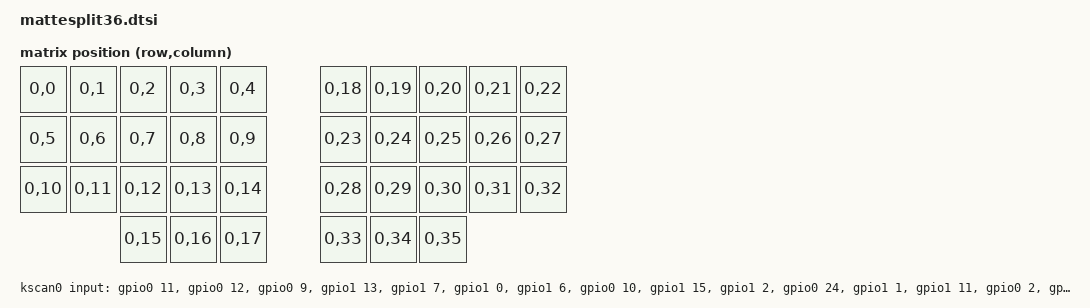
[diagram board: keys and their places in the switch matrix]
#include <dt-bindings/zmk/matrix_transform.h>
#include <physical_layouts.dtsi>

/ {
    chosen {
        zmk,kscan = &kscan0;
        zmk,physical-layout = &mattesplit36_layout;
    };

    mattesplit36_layout: physical_layout_0 {
        compatible = "zmk,physical-layout";
        display-name = "Mattesplit36";
        transform = <&default_transform>;
        kscan = <&kscan0>;
        keys =
            <&key_physical_attrs 100 100 0    0   0 0 0>,
            <&key_physical_attrs 100 100 100  0   0 0 0>,
            <&key_physical_attrs 100 100 200  0   0 0 0>,
            <&key_physical_attrs 100 100 300  0   0 0 0>,
            <&key_physical_attrs 100 100 400  0   0 0 0>,
            <&key_physical_attrs 100 100 600  0   0 0 0>,
            <&key_physical_attrs 100 100 700  0   0 0 0>,
            <&key_physical_attrs 100 100 800  0   0 0 0>,
            <&key_physical_attrs 100 100 900  0   0 0 0>,
            <&key_physical_attrs 100 100 1000 0   0 0 0>,
            <&key_physical_attrs 100 100 0    100 0 0 0>,
            <&key_physical_attrs 100 100 100  100 0 0 0>,
            <&key_physical_attrs 100 100 200  100 0 0 0>,
            <&key_physical_attrs 100 100 300  100 0 0 0>,
            <&key_physical_attrs 100 100 400  100 0 0 0>,
            <&key_physical_attrs 100 100 600  100 0 0 0>,
            <&key_physical_attrs 100 100 700  100 0 0 0>,
            <&key_physical_attrs 100 100 800  100 0 0 0>,
            <&key_physical_attrs 100 100 900  100 0 0 0>,
            <&key_physical_attrs 100 100 1000 100 0 0 0>,
            <&key_physical_attrs 100 100 0    200 0 0 0>,
            <&key_physical_attrs 100 100 100  200 0 0 0>,
            <&key_physical_attrs 100 100 200  200 0 0 0>,
            <&key_physical_attrs 100 100 300  200 0 0 0>,
            <&key_physical_attrs 100 100 400  200 0 0 0>,
            <&key_physical_attrs 100 100 600  200 0 0 0>,
            <&key_physical_attrs 100 100 700  200 0 0 0>,
            <&key_physical_attrs 100 100 800  200 0 0 0>,
            <&key_physical_attrs 100 100 900  200 0 0 0>,
            <&key_physical_attrs 100 100 1000 200 0 0 0>,
            <&key_physical_attrs 100 100 200  300 0 0 0>,
            <&key_physical_attrs 100 100 300  300 0 0 0>,
            <&key_physical_attrs 100 100 400  300 0 0 0>,
            <&key_physical_attrs 100 100 600  300 0 0 0>,
            <&key_physical_attrs 100 100 700  300 0 0 0>,
            <&key_physical_attrs 100 100 800  300 0 0 0>
        ;
    };

    default_transform: keymap_transform_0 {
        compatible = "zmk,matrix-transform";
        columns = <36>;
        rows = <1>;
        map = <
            RC(0,0)  RC(0,1)  RC(0,2)  RC(0,3)  RC(0,4)    RC(0,18) RC(0,19) RC(0,20) RC(0,21) RC(0,22)
            RC(0,5)  RC(0,6)  RC(0,7)  RC(0,8)  RC(0,9)    RC(0,23) RC(0,24) RC(0,25) RC(0,26) RC(0,27)
            RC(0,10) RC(0,11) RC(0,12) RC(0,13) RC(0,14)   RC(0,28) RC(0,29) RC(0,30) RC(0,31) RC(0,32)
                                      RC(0,15) RC(0,16) RC(0,17)   RC(0,33) RC(0,34) RC(0,35)
        >;
    };

    kscan0: kscan {
        compatible = "zmk,kscan-gpio-direct";
        wakeup-source;

        input-gpios =
            /* K05 K06 K07 K08 K09 - top row */
            <&gpio0 11 (GPIO_ACTIVE_LOW | GPIO_PULL_UP)>,
            <&gpio0 12 (GPIO_ACTIVE_LOW | GPIO_PULL_UP)>,
            <&gpio0 9  (GPIO_ACTIVE_LOW | GPIO_PULL_UP)>,
            <&gpio1 13 (GPIO_ACTIVE_LOW | GPIO_PULL_UP)>,
            <&gpio1 7  (GPIO_ACTIVE_LOW | GPIO_PULL_UP)>,
            /* K15 K16 K17 K18 K19 - middle row */
            <&gpio1 0  (GPIO_ACTIVE_LOW | GPIO_PULL_UP)>,
            <&gpio1 6  (GPIO_ACTIVE_LOW | GPIO_PULL_UP)>,
            <&gpio0 10 (GPIO_ACTIVE_LOW | GPIO_PULL_UP)>,
            <&gpio1 15 (GPIO_ACTIVE_LOW | GPIO_PULL_UP)>,
            <&gpio1 2  (GPIO_ACTIVE_LOW | GPIO_PULL_UP)>,
            /* K25 K26 K27 K28 K29 - bottom row */
            <&gpio0 24 (GPIO_ACTIVE_LOW | GPIO_PULL_UP)>,
            <&gpio1 1  (GPIO_ACTIVE_LOW | GPIO_PULL_UP)>,
            <&gpio1 11 (GPIO_ACTIVE_LOW | GPIO_PULL_UP)>,
            <&gpio0 2  (GPIO_ACTIVE_LOW | GPIO_PULL_UP)>,
            <&gpio0 29 (GPIO_ACTIVE_LOW | GPIO_PULL_UP)>,
            /* K35 K36 K37 - thumbs */
            <&gpio0 22 (GPIO_ACTIVE_LOW | GPIO_PULL_UP)>,
            <&gpio0 20 (GPIO_ACTIVE_LOW | GPIO_PULL_UP)>,
            <&gpio0 17 (GPIO_ACTIVE_LOW | GPIO_PULL_UP)>
        ;
    };
};

&uicr {
    nfct-pins-as-gpios;
};
